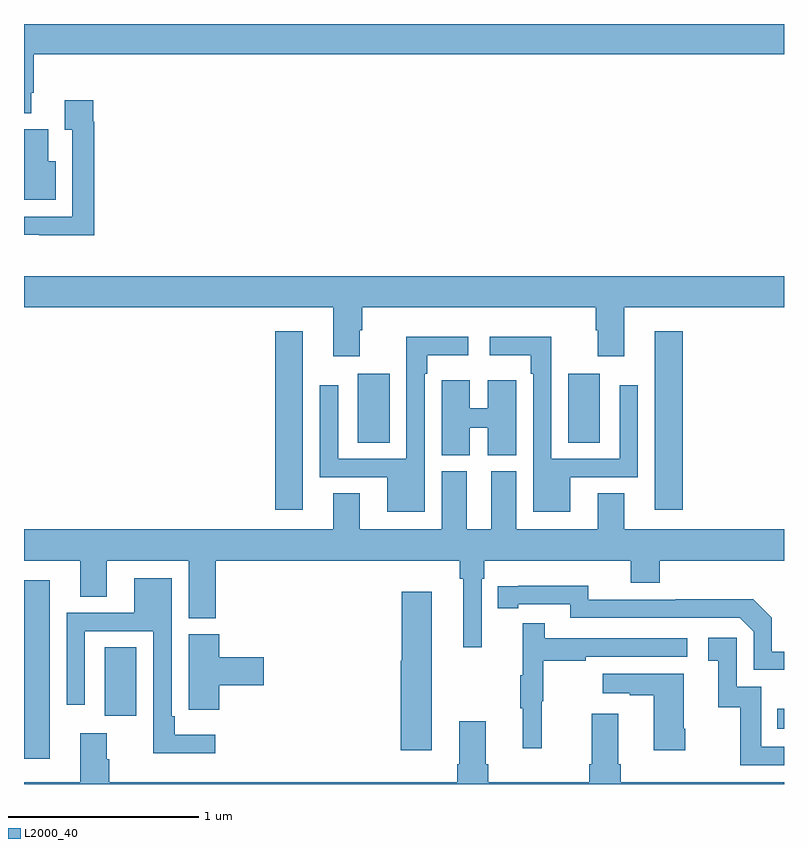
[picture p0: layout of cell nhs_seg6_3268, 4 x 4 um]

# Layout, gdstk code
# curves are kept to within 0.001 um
import gdstk
lib = gdstk.Library(unit=1e-6, precision=1e-09)
def R(c, l, rs):  # rectangles x0, y0, x1, y1
    for r in rs: c.add(gdstk.rectangle(r[:2], r[2:], *l))
def P(c, l, *ps):  # polygons
    for p in ps: c.add(gdstk.Polygon(p, *l))
L2000_40 = (2000, 40)

nhs_seg6_3268 = lib.new_cell('nhs_seg6_3268')
R(nhs_seg6_3268, L2000_40, [(303,939.633,303.136,940.573), (306.964,939.792,307,939.897), (303.425,939.858,303.592,940.22), (304.322,940.944,304.468,941.884), (306.32,940.944,306.467,941.884), (304.757,941.296,304.924,941.659), (305.864,941.296,306.031,941.659)])
P(nhs_seg6_3268, L2000_40, [(303,943.031),(303.037,943.031),(303.037,943.138),(303.05,943.138),(303.05,943.34),(307,943.34),(307,943.5),(303,943.5)],
  [(303.371,942.986),(303.364,942.986),(303.364,943.099),(303.215,943.099),(303.215,942.943),(303.255,942.943),(303.255,942.486),(303,942.486),(303,942.39),(303.079,942.39),(303.079,942.389),(303.371,942.389)],
  [(303.166,942.778),(303.127,942.778),(303.127,942.946),(303,942.946),(303,942.575),(303.166,942.575)],
  [(304.768,941.888),(304.781,941.888),(304.781,942.008),(306.008,942.008),(306.008,941.888),(306.02,941.888),(306.02,941.751),(306.16,941.751),(306.16,942.008),(307,942.008),(307,942.172),(303,942.172),(303,942.008),(304.628,942.008),(304.628,941.751),(304.768,941.751)],
  [(305.109,941.66),(305.122,941.66),(305.122,941.756),(305.338,941.756),(305.338,941.854),(305.013,941.854),(305.013,941.211),(304.653,941.211),(304.653,941.599),(304.557,941.599),(304.557,941.115),(304.913,941.115),(304.913,940.934),(305.109,940.934)],
  [(305.875,941.115),(306.231,941.115),(306.231,941.599),(306.135,941.599),(306.135,941.211),(305.775,941.211),(305.775,941.854),(305.451,941.854),(305.451,941.756),(305.667,941.756),(305.667,941.66),(305.679,941.66),(305.679,940.934),(305.875,940.934)],
  [(305.347,941.374),(305.441,941.374),(305.441,941.23),(305.59,941.23),(305.59,941.626),(305.441,941.626),(305.441,941.477),(305.347,941.477),(305.347,941.626),(305.198,941.626),(305.198,941.23),(305.347,941.23)],
  [(305.329,941.145),(305.198,941.145),(305.198,940.84),(304.768,940.84),(304.768,941.03),(304.628,941.03),(304.628,940.84),(303,940.84),(303,940.676),(303.296,940.676),(303.296,940.486),(303.436,940.486),(303.436,940.676),(303.866,940.676),(303.866,940.372),(304.01,940.372),(304.01,940.676),(305.293,940.676),(305.293,940.58),(305.312,940.58),(305.312,940.221),(305.409,940.221),(305.409,940.58),(305.423,940.58),(305.423,940.676),(306.194,940.676),(306.194,940.559),(306.347,940.559),(306.347,940.676),(307,940.676),(307,940.84),(306.16,940.84),(306.16,941.03),(306.02,941.03),(306.02,940.84),(305.59,940.84),(305.59,941.145),(305.459,941.145),(305.459,940.84),(305.329,940.84)],
  [(304.006,939.76),(303.793,939.76),(303.793,939.856),(303.777,939.856),(303.777,940.582),(303.581,940.582),(303.581,940.401),(303.225,940.401),(303.225,939.918),(303.321,939.918),(303.321,940.305),(303.681,940.305),(303.681,939.662),(304.006,939.662)],
  [(307,940.197),(306.936,940.197),(306.936,940.374),(306.838,940.472),(306.43,940.472),(306.43,940.47),(305.97,940.47),(305.97,940.543),(305.494,940.542),(305.494,940.426),(305.602,940.426),(305.602,940.446),(305.874,940.446),(305.874,940.374),(306.768,940.374),(306.84,940.302),(306.84,940.101),(307,940.101)],
  [(305.146,940.513),(304.988,940.513),(304.988,940.149),(304.982,940.149),(304.982,939.678),(305.146,939.678)],
  [(305.726,939.936),(305.734,939.936),(305.734,940.15),(305.957,940.15),(305.957,940.17),(306.49,940.17),(306.49,940.266),(305.741,940.266),(305.741,940.345),(305.624,940.345),(305.624,940.073),(305.613,940.073),(305.613,939.899),(305.624,939.899),(305.624,939.687),(305.726,939.687)],
  [(304.028,940.019),(304.261,940.019),(304.261,940.166),(304.028,940.166),(304.028,940.287),(303.866,940.287),(303.866,940.003),(303.867,940.003),(303.867,939.891),(304.028,939.891)],
  [(307,939.696),(306.879,939.696),(306.879,940.011),(306.75,940.011),(306.75,940.27),(306.6,940.27),(306.6,940.149),(306.653,940.149),(306.653,939.903),(306.771,939.903),(306.771,939.6),(307,939.6)],
  [(306.48,939.79),(306.472,939.79),(306.472,940.081),(306.045,940.081),(306.045,939.977),(306.188,939.977),(306.188,939.967),(306.314,939.967),(306.314,939.678),(306.48,939.678)],
  [(307,939.508),(306.14,939.508),(306.14,939.604),(306.127,939.604),(306.127,939.871),(305.987,939.871),(305.987,939.604),(305.975,939.604),(305.975,939.508),(305.444,939.508),(305.444,939.604),(305.431,939.604),(305.431,939.829),(305.291,939.829),(305.291,939.604),(305.279,939.604),(305.279,939.508),(303.449,939.508),(303.449,939.629),(303.436,939.629),(303.436,939.766),(303.296,939.766),(303.296,939.508),(303,939.508),(303,939.5),(307,939.5)])

lib.write_gds('nhs_seg6_3268.gds')
